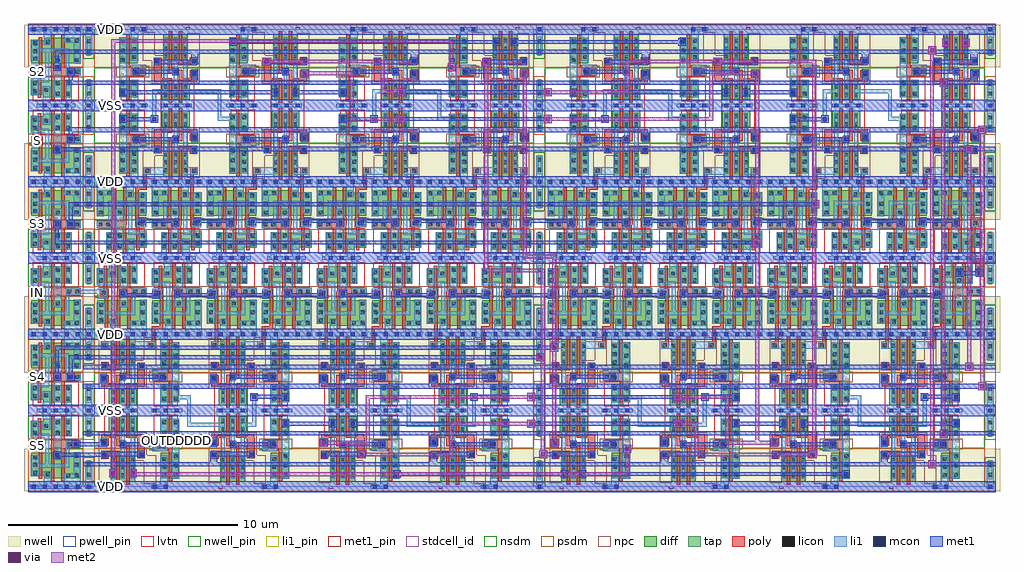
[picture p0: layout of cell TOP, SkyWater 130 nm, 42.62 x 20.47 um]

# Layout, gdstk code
from math import pi, radians
import gdstk
lib = gdstk.Library(unit=1e-6, precision=1e-09)
def R(c, l, rs):  # rectangles x0, y0, x1, y1
    for r in rs: c.add(gdstk.rectangle(r[:2], r[2:], *l))
def A(c, l, x, y, w, h, nx, ny, dx, dy):  # array of equal rectangles
    R(c, l, [(x+i*dx, y+j*dy, x+i*dx+w, y+j*dy+h) for i in range(nx) for j in range(ny)])
def P(c, l, *ps):  # polygons
    for p in ps: c.add(gdstk.Polygon(p, *l))
nwell_pin = (64, 16)
nwell = (64, 20)
diff = (65, 20)
tap = (65, 44)
poly = (66, 20)
licon = (66, 44)
li1_pin = (67, 16)
li1 = (67, 20)
mcon = (67, 44)
met1_pin = (68, 16)
met1 = (68, 20)
via = (68, 44)
met2 = (69, 20)
stdcell_id = (81, 4)
nsdm = (93, 44)
psdm = (94, 20)
npc = (95, 20)
pwell_pin = (122, 16)
lvtn = (125, 44)

scs8hs_tapvpwrvgnd_1 = lib.new_cell('scs8hs_tapvpwrvgnd_1')
R(scs8hs_tapvpwrvgnd_1, nwell, [(-0.19,1.66,0.67,3.52)])
R(scs8hs_tapvpwrvgnd_1, tap, [(0.155,0.32,0.325,1.145), (0.155,2.17,0.325,3.01)])
R(scs8hs_tapvpwrvgnd_1, licon, [(0.155,0.44,0.325,0.61), (0.155,0.855,0.325,1.025), (0.155,2.29,0.325,2.46), (0.155,2.72,0.325,2.89)])
R(scs8hs_tapvpwrvgnd_1, li1, [(0.09,-0.085,0.39,1.105), (0.09,2.205,0.39,3.415)])
R(scs8hs_tapvpwrvgnd_1, mcon, [(0.155,-0.085,0.325,0.085), (0.155,3.245,0.325,3.415)])
R(scs8hs_tapvpwrvgnd_1, met1_pin, [(0,0,0.48,0.245), (0,3.085,0.48,3.33)])
R(scs8hs_tapvpwrvgnd_1, met1, [(0,-0.245,0.48,0.245), (0,3.085,0.48,3.575)])
R(scs8hs_tapvpwrvgnd_1, stdcell_id, [(0,0,0.48,3.33)])
R(scs8hs_tapvpwrvgnd_1, nsdm, [(0,-0.19,0.48,0.19), (0,2.04,0.48,3.14)])
R(scs8hs_tapvpwrvgnd_1, psdm, [(0,0.19,0.48,1.275), (0,3.14,0.48,3.52)])
scs8hs_tapvpwrvgnd_1.add(gdstk.Label('vpwr', (0.24,3.208), layer=68, texttype=5))
scs8hs_tapvpwrvgnd_1.add(gdstk.Label('vgnd', (0.24,0.123), layer=68, texttype=5))
scs8hs_tapvpwrvgnd_1.add(gdstk.Label('scs8hs_tapvpwrvgnd_1', (0,0), layer=83, texttype=44))

scs8hs_buf_2 = lib.new_cell('scs8hs_buf_2')
R(scs8hs_buf_2, nwell_pin, [(0,3.085,2.4,3.33)])
R(scs8hs_buf_2, nwell, [(-0.19,1.66,2.59,3.52)])
P(scs8hs_buf_2, diff, [(0.135,1.84),(0.135,2.96),(1.705,2.96),(1.705,2.84),(2.265,2.84),(2.265,1.84)],
  [(0.535,0.37),(0.535,1.11),(2.265,1.11),(2.265,0.47),(1.755,0.47),(1.755,0.37)])
P(scs8hs_buf_2, poly, [(0.82,0.24),(0.82,1.3),(0.105,1.3),(0.105,1.63),(0.795,1.63),(0.795,1.765),(0.81,1.765),(0.81,3.09),(0.96,3.09),(0.96,1.765),(0.975,1.765),(0.975,1.63),(1.245,1.63),(1.245,1.765),(1.26,1.765),(1.26,3.09),(1.41,3.09),(1.41,1.765),(1.425,1.765),(1.425,1.45),(1.4,1.45),(1.4,0.24),(1.25,0.24),(1.25,1.3),(0.97,1.3),(0.97,0.24)],
  [(1.83,0.34),(1.83,1.35),(1.78,1.35),(1.78,1.765),(1.795,1.765),(1.795,2.97),(1.945,2.97),(1.945,1.765),(1.96,1.765),(1.96,1.68),(2.155,1.68),(2.155,1.35),(1.98,1.35),(1.98,0.34)])
A(scs8hs_buf_2, licon, 2.02, 1.95, 0.17, 0.17, 1, 3, 0, 0.34)
R(scs8hs_buf_2, licon, [(0.595,0.43,0.765,0.6), (1.025,0.43,1.195,0.6), (2.035,0.53,2.205,0.7), (1.525,0.59,1.695,0.76), (0.595,0.88,0.765,1.05), (1.025,0.88,1.195,1.05), (2.035,0.88,2.205,1.05), (0.185,1.38,0.355,1.55), (0.525,1.38,0.695,1.55), (1.905,1.43,2.075,1.6), (0.195,1.9,0.365,2.07), (1.025,1.9,1.195,2.07), (0.195,2.285,0.365,2.455), (1.475,2.695,1.645,2.865), (0.195,2.735,0.365,2.905), (0.575,2.735,0.745,2.905)])
A(scs8hs_buf_2, li1_pin, 1.115, 1.21, 0.17, 0.17, 1, 3, 0, 0.37)
R(scs8hs_buf_2, li1_pin, [(2.075,1.58,2.245,1.75)])
R(scs8hs_buf_2, li1, [(1.825,1.35,2.275,1.78)])
P(scs8hs_buf_2, li1, [(0.36,-0.085),(0.36,0.085),(0.515,0.085),(0.515,1.13),(0.765,1.13),(0.765,0.085),(1.445,0.085),(1.445,0.84),(1.775,0.84),(1.775,0.085),(2.04,0.085),(2.04,-0.085)],
  [(0.115,1.82),(0.115,3.245),(0.09,3.245),(0.09,3.415),(2.32,3.415),(2.32,3.245),(1.725,3.245),(1.725,2.66),(1.395,2.66),(1.395,3.245),(0.825,3.245),(0.825,2.735),(0.42,2.735),(0.42,1.82)],
  [(1.955,0.45),(1.955,1.01),(1.485,1.01),(1.485,2.32),(0.775,2.32),(0.775,1.3),(0.105,1.3),(0.105,1.63),(0.605,1.63),(0.605,2.49),(1.93,2.49),(1.93,2.88),(2.285,2.88),(2.285,1.95),(1.93,1.95),(1.93,2.32),(1.655,2.32),(1.655,1.18),(2.285,1.18),(2.285,0.45)],
  [(0.945,0.35),(0.945,2.15),(1.315,2.15),(1.315,1.18),(1.275,1.18),(1.275,0.35)])
A(scs8hs_buf_2, mcon, 0.635, -0.085, 0.17, 0.17, 3, 1, 0.48, 0)
A(scs8hs_buf_2, mcon, 0.155, 3.245, 0.17, 0.17, 5, 1, 0.48, 0)
R(scs8hs_buf_2, met1_pin, [(0,0,2.4,0.245), (0,3.085,2.4,3.33)])
R(scs8hs_buf_2, met1, [(0,-0.245,2.4,0.245), (0,3.085,2.4,3.575)])
R(scs8hs_buf_2, stdcell_id, [(0,0,2.4,3.33)])
R(scs8hs_buf_2, nsdm, [(0,-0.19,2.4,1.66)])
P(scs8hs_buf_2, psdm, [(0,1.66),(0,3.52),(2.4,3.52),(2.4,1.71),(1.795,1.71),(1.795,1.66)])
R(scs8hs_buf_2, npc, [(0,1.23,2.4,1.7)])
R(scs8hs_buf_2, pwell_pin, [(0,0,2.4,0.245)])
R(scs8hs_buf_2, lvtn, [(0.19,0.19,2.21,1.3)])
scs8hs_buf_2.add(gdstk.Label('vpwr', (1.2,3.208), layer=68, texttype=5))
scs8hs_buf_2.add(gdstk.Label('vgnd', (1.2,0.123), layer=68, texttype=5))
scs8hs_buf_2.add(gdstk.Label('A', (2.16,1.665), layer=67, texttype=5))
scs8hs_buf_2.add(gdstk.Label('X', (1.2,1.295), layer=67, texttype=5))
scs8hs_buf_2.add(gdstk.Label('X', (1.2,1.665), layer=67, texttype=5))
scs8hs_buf_2.add(gdstk.Label('X', (1.2,2.035), layer=67, texttype=5))
scs8hs_buf_2.add(gdstk.Label('scs8hs_buf_2', (0,0), layer=83, texttype=44))
scs8hs_buf_2.add(gdstk.Label('vnb', (1.2,0.123), layer=64, texttype=59))
scs8hs_buf_2.add(gdstk.Label('vpb', (1.2,3.208), layer=64, texttype=5))

dfl1sd_7d6da7699b = lib.new_cell('DFL1sd@7d6da7699b')
A(dfl1sd_7d6da7699b, licon, 0.055, 0.06, 0.17, 0.17, 1, 3, 0, 0.34)
R(dfl1sd_7d6da7699b, li1, [(0.055,-0.02,0.225,0.99)])

pfet_small = lib.new_cell('pfet_small')
R(pfet_small, diff, [(-0.25,0,0.83,1.12)])
R(pfet_small, poly, [(0,-0.13,0.15,1.25), (0,-0.13,0.15,0), (0.43,-0.13,0.58,1.25), (0.43,-0.13,0.58,0), (0,1.12,0.15,1.25), (0.43,1.12,0.58,1.25)])
A(pfet_small, licon, 0.205, 0.06, 0.17, 0.17, 1, 3, 0, 0.34)
A(pfet_small, licon, 0.635, 0.06, 0.17, 0.17, 1, 3, 0, 0.34)
R(pfet_small, li1, [(-0.225,-0.02,-0.055,0.31), (0.205,-0.02,0.375,0.31), (0.205,-0.02,0.375,0.31), (0.205,-0.02,0.375,0.99), (0.635,-0.02,0.805,0.31), (0.635,-0.02,0.805,0.99)])
R(pfet_small, psdm, [(0,-0.125,0.15,1.245), (0.43,-0.125,0.58,1.245)])
pfet_small.add(gdstk.Reference(dfl1sd_7d6da7699b, (0.15,0)))
pfet_small.add(gdstk.Reference(dfl1sd_7d6da7699b, (0,0), rotation=pi, x_reflection=True))
pfet_small.add(gdstk.Label('S', (0.29,0.145), layer=83, texttype=44))
pfet_small.add(gdstk.Label('D', (0.72,0.145), layer=83, texttype=44))
pfet_small.add(gdstk.Label('S', (-0.14,0.145), layer=83, texttype=44))
pfet_small.add(gdstk.Label('D', (0.29,0.145), layer=83, texttype=44))

dfl1sd_bd768060f0 = lib.new_cell('DFL1sd@bd768060f0')
R(dfl1sd_bd768060f0, licon, [(0.055,0.06,0.225,0.23), (0.055,0.4,0.225,0.57)])
R(dfl1sd_bd768060f0, li1, [(0.055,-0.02,0.225,0.65)])

nfet_small = lib.new_cell('nfet_small')
R(nfet_small, diff, [(-0.32,0,0.9,0.72)])
R(nfet_small, poly, [(0,-0.13,0.15,0), (0,-0.13,0.15,0.85), (0.43,-0.13,0.58,0.85), (0.43,-0.09,0.58,0), (0,0.74,0.15,0.85), (0.43,0.74,0.58,0.85)])
R(nfet_small, licon, [(0.205,0.06,0.375,0.23), (0.635,0.06,0.805,0.23), (0.205,0.4,0.375,0.57), (0.635,0.4,0.805,0.57)])
R(nfet_small, li1, [(-0.225,-0.02,-0.055,0.31), (0.205,-0.02,0.375,0.31), (0.205,-0.02,0.375,0.31), (0.205,-0.02,0.375,0.65), (0.635,-0.02,0.805,0.31), (0.635,-0.02,0.805,0.65)])
R(nfet_small, nsdm, [(-0.798,-0.567,1,1.283), (0,-0.125,0.15,0.845), (0.43,-0.075,0.58,0.845)])
R(nfet_small, lvtn, [(-0.52,-0.16,0.94,0.95)])
nfet_small.add(gdstk.Reference(dfl1sd_bd768060f0, (0.15,0)))
nfet_small.add(gdstk.Reference(dfl1sd_bd768060f0, (0,0), rotation=pi, x_reflection=True))
nfet_small.add(gdstk.Label('S', (0.29,0.145), layer=83, texttype=44))
nfet_small.add(gdstk.Label('D', (0.72,0.145), layer=83, texttype=44))
nfet_small.add(gdstk.Label('S', (-0.14,0.145), layer=83, texttype=44))
nfet_small.add(gdstk.Label('D', (0.29,0.145), layer=83, texttype=44))

scs8hs_fill_4_none = lib.new_cell('scs8hs_fill_4_none')
R(scs8hs_fill_4_none, nwell_pin, [(0,3.085,1.92,3.33)])
R(scs8hs_fill_4_none, nwell, [(-0.19,1.66,2.11,3.52)])
R(scs8hs_fill_4_none, li1, [(0.55,-0.085,1.85,0.085)])
A(scs8hs_fill_4_none, mcon, 0.635, -0.085, 0.17, 0.17, 3, 1, 0.48, 0)
R(scs8hs_fill_4_none, met1_pin, [(0,0,1.92,0.245), (0,3.085,1.92,3.33)])
R(scs8hs_fill_4_none, met1, [(0,-0.245,1.92,0.245), (0,3.085,1.92,3.575)])
R(scs8hs_fill_4_none, stdcell_id, [(0,0,1.92,3.33)])
R(scs8hs_fill_4_none, nsdm, [(0,-0.19,1.92,1.655)])
R(scs8hs_fill_4_none, psdm, [(0,1.655,1.92,3.52)])
R(scs8hs_fill_4_none, pwell_pin, [(0,0,1.92,0.245)])
scs8hs_fill_4_none.add(gdstk.Label('vpwr', (0.96,3.208), layer=68, texttype=5))
scs8hs_fill_4_none.add(gdstk.Label('vgnd', (0.96,0.123), layer=68, texttype=5))
scs8hs_fill_4_none.add(gdstk.Label('scs8hs_fill_4', (0,0), layer=83, texttype=44))
scs8hs_fill_4_none.add(gdstk.Label('vnb', (0.96,0.123), layer=64, texttype=59))
scs8hs_fill_4_none.add(gdstk.Label('vpb', (0.96,3.208), layer=64, texttype=5))

scs8hs_inv_1_mod = lib.new_cell('scs8hs_inv_1_mod')
R(scs8hs_inv_1_mod, nwell_pin, [(0,3.085,1.44,3.33)])
R(scs8hs_inv_1_mod, nwell, [(-0.19,1.66,1.63,3.52)])
R(scs8hs_inv_1_mod, diff, [(0.505,0.37,1.295,1.11), (0.505,1.84,1.295,2.96)])
P(scs8hs_inv_1_mod, poly, [(0.86,0.24),(0.86,1.3),(0.145,1.3),(0.145,1.63),(0.835,1.63),(0.835,1.765),(0.85,1.765),(0.85,3.09),(1,3.09),(1,1.765),(1.015,1.765),(1.015,1.3),(1.01,1.3),(1.01,0.24)])
A(scs8hs_inv_1_mod, licon, 1.065, 1.9, 0.17, 0.17, 1, 3, 0, 0.415)
A(scs8hs_inv_1_mod, licon, 0.565, 2.03, 0.17, 0.17, 1, 3, 0, 0.35)
R(scs8hs_inv_1_mod, licon, [(0.565,0.43,0.735,0.6), (1.065,0.43,1.235,0.6), (0.565,0.88,0.735,1.05), (1.065,0.88,1.235,1.05), (0.225,1.38,0.395,1.55), (0.565,1.38,0.735,1.55)])
A(scs8hs_inv_1_mod, li1_pin, 1.115, 0.47, 0.17, 0.17, 1, 7, 0, 0.37)
R(scs8hs_inv_1_mod, li1_pin, [(0.155,1.58,0.325,1.75)])
R(scs8hs_inv_1_mod, li1, [(0.985,0.35,1.315,2.98), (0.125,1.3,0.815,1.78)])
P(scs8hs_inv_1_mod, li1, [(0.08,-0.085),(0.08,0.085),(0.485,0.085),(0.485,1.13),(0.815,1.13),(0.815,0.085),(1.44,0.085),(1.44,-0.085)],
  [(0.485,1.95),(0.485,3.245),(0.08,3.245),(0.08,3.415),(0.815,3.415),(0.815,1.95)])
A(scs8hs_inv_1_mod, mcon, 0.155, -0.085, 0.17, 0.17, 3, 1, 0.48, 0)
R(scs8hs_inv_1_mod, mcon, [(0.155,3.245,0.325,3.415), (0.635,3.245,0.805,3.415)])
R(scs8hs_inv_1_mod, met1_pin, [(0,0,1.44,0.245), (0,3.085,1.44,3.33)])
R(scs8hs_inv_1_mod, met1, [(0,-0.245,1.44,0.245), (0,3.085,1.44,3.575)])
R(scs8hs_inv_1_mod, stdcell_id, [(0,0,1.44,3.33)])
R(scs8hs_inv_1_mod, nsdm, [(0,-0.19,1.44,1.66)])
R(scs8hs_inv_1_mod, psdm, [(0,1.66,1.44,3.52)])
P(scs8hs_inv_1_mod, npc, [(0,1.23),(0,1.73),(0.365,1.73),(0.365,1.7),(1.44,1.7),(1.44,1.23)])
R(scs8hs_inv_1_mod, pwell_pin, [(0,0,1.44,0.245)])
R(scs8hs_inv_1_mod, lvtn, [(0.19,0.19,1.25,1.3)])
scs8hs_inv_1_mod.add(gdstk.Label('vpwr', (0.72,3.208), layer=68, texttype=5))
scs8hs_inv_1_mod.add(gdstk.Label('vgnd', (0.72,0.123), layer=68, texttype=5))
scs8hs_inv_1_mod.add(gdstk.Label('Y', (1.2,0.555), layer=67, texttype=5))
scs8hs_inv_1_mod.add(gdstk.Label('Y', (1.2,0.925), layer=67, texttype=5))
scs8hs_inv_1_mod.add(gdstk.Label('Y', (1.2,1.295), layer=67, texttype=5))
scs8hs_inv_1_mod.add(gdstk.Label('Y', (1.2,1.665), layer=67, texttype=5))
scs8hs_inv_1_mod.add(gdstk.Label('Y', (1.2,2.035), layer=67, texttype=5))
scs8hs_inv_1_mod.add(gdstk.Label('Y', (1.2,2.405), layer=67, texttype=5))
scs8hs_inv_1_mod.add(gdstk.Label('Y', (1.2,2.775), layer=67, texttype=5))
scs8hs_inv_1_mod.add(gdstk.Label('A', (0.24,1.665), layer=67, texttype=5))
scs8hs_inv_1_mod.add(gdstk.Label('scs8hs_inv_1', (0,0), layer=83, texttype=44))
scs8hs_inv_1_mod.add(gdstk.Label('vnb', (0.72,0.123), layer=64, texttype=59))
scs8hs_inv_1_mod.add(gdstk.Label('vpb', (0.72,3.208), layer=64, texttype=5))

scs8hs_fill_1 = lib.new_cell('scs8hs_fill_1')
R(scs8hs_fill_1, nwell_pin, [(0,3.085,0.48,3.33)])
R(scs8hs_fill_1, nwell, [(-0.19,1.66,0.67,3.52)])
R(scs8hs_fill_1, met1_pin, [(0,0,0.48,0.245), (0,3.085,0.48,3.33)])
R(scs8hs_fill_1, met1, [(0,-0.245,0.48,0.245), (0,3.085,0.48,3.575)])
R(scs8hs_fill_1, stdcell_id, [(0,0,0.48,3.33)])
R(scs8hs_fill_1, nsdm, [(0,-0.19,0.48,1.655)])
R(scs8hs_fill_1, psdm, [(0,1.655,0.48,3.52)])
R(scs8hs_fill_1, pwell_pin, [(0,0,0.48,0.245)])
scs8hs_fill_1.add(gdstk.Label('vpwr', (0.24,3.208), layer=68, texttype=5))
scs8hs_fill_1.add(gdstk.Label('vgnd', (0.24,0.123), layer=68, texttype=5))
scs8hs_fill_1.add(gdstk.Label('scs8hs_fill_1', (0,0), layer=83, texttype=44))
scs8hs_fill_1.add(gdstk.Label('vnb', (0.24,0.123), layer=64, texttype=59))
scs8hs_fill_1.add(gdstk.Label('vpb', (0.24,3.208), layer=64, texttype=5))

emux = lib.new_cell('emux')
R(emux, poly, [(-0.175,1.045,0.63,1.195), (0.91,1.045,1.715,1.195), (0.48,1.105,0.63,1.405), (-0.185,1.195,0.145,1.545), (1.385,1.195,1.725,2.095), (0.48,1.405,1.06,1.555), (0.91,1.425,1.06,1.905), (-0.185,1.765,0.145,2.115), (-0.135,1.765,0.63,1.915)])
R(emux, licon, [(-0.13,1.275,0.04,1.445), (-0.13,1.845,0.04,2.015), (1.505,1.845,1.675,2.015)])
R(emux, li1_pin, [(3.035,1.21,3.205,1.38)])
A(emux, li1, 0.255, 0.37, 0.17, 2.6, 3, 1, 0.43, 0)
R(emux, li1, [(-0.205,1.195,0.065,1.565), (3.035,1.21,3.205,1.38), (0.625,1.33,0.915,1.62), (-0.175,1.765,0.075,2.095), (1.465,1.765,1.715,2.095)])
R(emux, mcon, [(-0.145,1.325,0.025,1.495), (0.685,1.39,0.855,1.56), (2.385,1.39,2.555,1.56), (-0.13,1.845,0.04,2.015), (1.505,1.845,1.675,2.015)])
R(emux, met1_pin, [(0.155,-0.085,0.325,0.085), (-0.145,1.325,0.025,1.495), (-0.13,1.845,0.04,2.015), (0.155,3.245,0.325,3.415)])
R(emux, met1, [(0.155,-0.085,0.325,0.085), (-0.225,1.255,0.095,1.575), (-0.145,1.325,0.025,1.495), (0.625,1.33,0.915,1.62), (2.325,1.33,2.615,1.62), (0.685,1.39,2.385,1.56), (-0.175,1.765,0.075,2.095), (1.465,1.765,1.715,2.095), (0,1.8,1.7,2), (-0.13,1.845,0.04,2.015), (0.155,3.245,0.325,3.415)])
R(emux, npc, [(-0.275,0.945,0.255,3.165), (1.285,0.945,1.815,2.195), (1.685,1.945,2.215,3.195)])
emux.add(gdstk.Reference(pfet_small, (0.48,1.995)))
emux.add(gdstk.Reference(nfet_small, (0.48,0.96), x_reflection=True))
emux.add(gdstk.Reference(scs8hs_fill_4_none, (-0.48,0)))
emux.add(gdstk.Reference(scs8hs_inv_1_mod, (1.92,0)))
emux.add(gdstk.Reference(scs8hs_fill_1, (1.44,0)))
emux.add(gdstk.Reference(scs8hs_fill_1, (3.84,0)))
emux.add(gdstk.Reference(scs8hs_fill_1, (3.36,0)))
emux.add(gdstk.Label('VSS', (0.24,0), layer=68, texttype=5))
emux.add(gdstk.Label('VDD', (0.24,3.33), layer=68, texttype=5))
emux.add(gdstk.Label('S', (-0.045,1.93), layer=68, texttype=5))
emux.add(gdstk.Label('SB', (-0.06,1.41), layer=68, texttype=5))
emux.add(gdstk.Label('OUTD', (3.12,1.295), layer=67, texttype=5))

unit_delay = lib.new_cell('unit_delay')
R(unit_delay, poly, [(-0.205,2.69,-0.025,3.02), (-0.025,2.69,0.125,3.69), (1.845,2.69,2.025,3.02), (2.025,2.69,2.175,3.54), (2.025,3.54,2.525,3.69)])
R(unit_delay, licon, [(-0.135,2.77,0.035,2.94), (1.925,2.77,2.095,2.94)])
R(unit_delay, li1_pin, [(3.035,1.21,3.205,1.38), (3.035,4.54,3.205,4.71), (-0.325,4.91,-0.155,5.08)])
R(unit_delay, li1, [(3.035,1.21,3.205,1.38), (-0.205,2.69,0.395,3.02), (1.275,2.69,2.175,3.02), (3.035,4.54,3.205,4.71), (-0.325,4.91,-0.155,5.08)])
A(unit_delay, met1_pin, 0.155, -0.085, 0.17, 0.17, 1, 3, 0, 3.33)
R(unit_delay, met1_pin, [(-0.145,1.325,0.025,1.495), (-0.13,1.845,0.04,2.015)])
A(unit_delay, met1, 0.155, -0.085, 0.17, 0.17, 1, 3, 0, 3.33)
R(unit_delay, met1, [(-0.145,1.325,0.025,1.495), (-0.13,1.845,0.04,2.015)])
unit_delay.add(gdstk.Reference(scs8hs_buf_2, (1.92,6.66), rotation=pi))
unit_delay.add(gdstk.Reference(scs8hs_buf_2, (4.32,6.66), rotation=pi))
unit_delay.add(gdstk.Reference(emux, (0,0)))
unit_delay.add(gdstk.Label('VSS', (0.24,0), layer=68, texttype=5))
unit_delay.add(gdstk.Label('VDD', (0.24,3.33), layer=68, texttype=5))
unit_delay.add(gdstk.Label('S', (-0.045,1.93), layer=68, texttype=5))
unit_delay.add(gdstk.Label('SB', (-0.06,1.41), layer=68, texttype=5))
unit_delay.add(gdstk.Label('VSS', (0.24,6.66), layer=68, texttype=5))
unit_delay.add(gdstk.Label('OUTD', (3.12,1.295), layer=67, texttype=5))
unit_delay.add(gdstk.Label('IN', (-0.24,4.995), layer=67, texttype=5))
unit_delay.add(gdstk.Label('OUT', (3.12,4.625), layer=67, texttype=5))

quad_delay = lib.new_cell('quad_delay')
A(quad_delay, li1_pin, 3.035, -1.38, 0.17, 0.17, 4, 1, 4.8, 0)
R(quad_delay, li1_pin, [(3.035,1.21,3.205,1.38), (3.035,4.54,3.205,4.71), (-0.325,4.91,-0.155,5.08)])
A(quad_delay, li1, 3.035, -1.38, 0.17, 0.17, 4, 1, 4.8, 0)
R(quad_delay, li1, [(3.57,-0.7,5.07,-0.53), (5.985,-0.7,6.585,-0.53), (13.17,-0.7,14.67,-0.53), (15.585,-0.7,16.185,-0.53), (3.57,-0.53,3.74,0.67), (6.415,-0.53,6.585,0.67), (13.17,-0.53,13.34,0.67), (16.015,-0.53,16.185,0.67), (6.335,0.43,6.665,0.76), (7.705,0.43,8.035,0.76), (15.935,0.43,16.265,0.76), (17.305,0.43,17.635,0.76), (3.16,0.5,3.65,0.67), (12.76,0.5,13.25,0.67), (3.035,1.21,3.205,1.38), (3.035,4.54,3.205,4.71), (-0.325,4.91,-0.155,5.08)])
A(quad_delay, mcon, 2.125, 4.98, 0.17, 0.17, 7, 1, 2.4, 0)
A(quad_delay, mcon, 0.685, 5.03, 0.17, 0.17, 7, 1, 2.4, 0)
R(quad_delay, mcon, [(7.785,-0.66,7.955,-0.49), (9.855,-0.66,10.025,-0.49), (10.715,-0.66,10.885,-0.49), (17.39,-0.66,17.56,-0.49), (6.415,0.51,6.585,0.68), (7.785,0.51,7.955,0.68), (16.015,0.51,16.185,0.68), (17.385,0.51,17.555,0.68)])
A(quad_delay, met1_pin, 0.155, -3.415, 0.17, 0.17, 1, 4, 0, 3.33)
A(quad_delay, met1_pin, -0.145, -2.015, 0.17, 0.17, 3, 2, 4.8, 0.58)
A(quad_delay, met1_pin, 0.685, 5.03, 0.17, 0.17, 7, 1, 2.4, 0)
R(quad_delay, met1_pin, [(11.12,-2,11.29,-1.83), (-0.145,1.325,0.025,1.495), (-0.13,1.845,0.04,2.015)])
A(quad_delay, met1, 0.155, -3.415, 0.17, 0.17, 1, 4, 0, 3.33)
A(quad_delay, met1, -0.145, -2.015, 0.17, 0.17, 3, 2, 4.8, 0.58)
A(quad_delay, met1, -0.225, 1.145, 0.32, 0.43, 4, 1, 4.8, 0)
A(quad_delay, met1, 2.045, 4.9, 0.33, 0.33, 7, 1, 2.4, 0)
A(quad_delay, met1, 0.605, 4.95, 0.33, 0.33, 7, 1, 2.4, 0)
A(quad_delay, met1, 0.685, 4.95, 1.57, 0.17, 7, 1, 2.4, 0)
A(quad_delay, met1, 0.685, 5.03, 0.17, 0.17, 7, 1, 2.4, 0)
R(quad_delay, met1, [(-0.96,-2.435,19.2,-2.265), (4.575,-2.4,4.895,-1.8), (14.175,-2.4,14.495,-1.8), (11.12,-2,11.29,-1.83), (4.575,-1.5,4.895,-1.07), (14.175,-1.5,14.495,-1.07), (-0.96,-1.08,19.2,-0.91), (7.705,-0.74,8.035,-0.41), (9.775,-0.74,10.105,-0.41), (10.635,-0.74,10.965,-0.41), (17.31,-0.74,17.64,-0.41), (7.865,-0.66,9.965,-0.49), (10.8,-0.66,17.55,-0.49), (6.335,0.43,6.665,0.76), (7.705,0.43,8.035,0.76), (15.935,0.43,16.265,0.76), (17.305,0.43,17.635,0.76), (6.415,0.51,7.955,0.68), (16.015,0.51,17.555,0.68), (-0.96,0.96,19.2,1.16), (-0.145,1.325,0.025,1.495), (-0.96,1.8,19.2,2), (-0.13,1.845,0.04,2.015)])
quad_delay.add(gdstk.Reference(scs8hs_tapvpwrvgnd_1, (-0.96,0)))
quad_delay.add(gdstk.Reference(scs8hs_tapvpwrvgnd_1, (-0.96,0), x_reflection=True))
quad_delay.add(gdstk.Reference(scs8hs_tapvpwrvgnd_1, (-0.96,6.66), x_reflection=True))
quad_delay.add(gdstk.Reference(unit_delay, (0,0)))
quad_delay.add(gdstk.Reference(emux, (0,0), x_reflection=True))
quad_delay.add(gdstk.Reference(unit_delay, (4.8,0)))
quad_delay.add(gdstk.Reference(emux, (4.8,0), x_reflection=True))
quad_delay.add(gdstk.Reference(unit_delay, (9.6,0)))
quad_delay.add(gdstk.Reference(emux, (9.6,0), x_reflection=True))
quad_delay.add(gdstk.Reference(unit_delay, (14.4,0)))
quad_delay.add(gdstk.Reference(emux, (14.4,0), x_reflection=True))
quad_delay.add(gdstk.Reference(scs8hs_tapvpwrvgnd_1, (18.72,0)))
quad_delay.add(gdstk.Reference(scs8hs_tapvpwrvgnd_1, (18.72,6.66), x_reflection=True))
quad_delay.add(gdstk.Reference(scs8hs_tapvpwrvgnd_1, (18.72,0), x_reflection=True))
quad_delay.add(gdstk.Label('VSS', (0.24,0), layer=68, texttype=5))
quad_delay.add(gdstk.Label('VDD', (0.24,3.33), layer=68, texttype=5))
quad_delay.add(gdstk.Label('S', (-0.045,1.93), layer=68, texttype=5))
quad_delay.add(gdstk.Label('SB', (-0.06,1.41), layer=68, texttype=5))
quad_delay.add(gdstk.Label('VSS', (0.24,6.66), layer=68, texttype=5))
quad_delay.add(gdstk.Label('OUT0', (0.77,5.115), layer=68, texttype=5))
quad_delay.add(gdstk.Label('OUT1', (3.17,5.115), layer=68, texttype=5))
quad_delay.add(gdstk.Label('OUT2', (5.57,5.115), layer=68, texttype=5))
quad_delay.add(gdstk.Label('OUT3', (7.97,5.115), layer=68, texttype=5))
quad_delay.add(gdstk.Label('OUT4', (10.37,5.115), layer=68, texttype=5))
quad_delay.add(gdstk.Label('OUT5', (12.77,5.115), layer=68, texttype=5))
quad_delay.add(gdstk.Label('OUT6', (15.17,5.115), layer=68, texttype=5))
quad_delay.add(gdstk.Label('S4B', (-0.06,-1.35), layer=68, texttype=5))
quad_delay.add(gdstk.Label('S4', (-0.06,-1.93), layer=68, texttype=5))
quad_delay.add(gdstk.Label('S2B', (4.74,-1.35), layer=68, texttype=5))
quad_delay.add(gdstk.Label('S2', (4.74,-1.93), layer=68, texttype=5))
quad_delay.add(gdstk.Label('S3B', (9.54,-1.35), layer=68, texttype=5))
quad_delay.add(gdstk.Label('S3', (9.54,-1.93), layer=68, texttype=5))
quad_delay.add(gdstk.Label('VDD', (0.24,-3.33), layer=68, texttype=5))
quad_delay.add(gdstk.Label('TP1', (11.205,-1.915), layer=68, texttype=5))
quad_delay.add(gdstk.Label('OUTD', (3.12,1.295), layer=67, texttype=5))
quad_delay.add(gdstk.Label('IN', (-0.24,4.995), layer=67, texttype=5))
quad_delay.add(gdstk.Label('OUT', (3.12,4.625), layer=67, texttype=5))
quad_delay.add(gdstk.Label('OUTDDDDD', (3.12,-1.295), layer=67, texttype=5))
quad_delay.add(gdstk.Label('OUTDDDD', (17.52,-1.295), layer=67, texttype=5))
quad_delay.add(gdstk.Label('OUTDD', (7.92,-1.295), layer=67, texttype=5))
quad_delay.add(gdstk.Label('OUTDDD', (12.72,-1.295), layer=67, texttype=5))

eight_delay = lib.new_cell('eight_delay')
A(eight_delay, li1_pin, 3.035, -1.38, 0.17, 0.17, 3, 1, 4.8, 0)
R(eight_delay, li1_pin, [(22.715,-1.38,22.885,-1.21), (3.035,1.21,3.205,1.38), (3.035,4.54,3.205,4.71), (-0.325,4.91,-0.155,5.08)])
A(eight_delay, li1, 3.035, -1.38, 0.17, 0.17, 3, 1, 4.8, 0)
R(eight_delay, li1, [(22.715,-1.38,22.885,-1.21), (3.035,1.21,3.205,1.38), (3.035,4.54,3.205,4.71), (-0.325,4.91,-0.155,5.08)])
R(eight_delay, mcon, [(12.645,-2.855,12.815,-2.685), (19.975,-2.855,20.145,-2.685), (20.755,-2.855,20.925,-2.685), (32.255,-2.855,32.425,-2.685), (0.255,-2.825,0.425,-2.655), (1.12,-2.825,1.29,-2.655), (22.715,-1.75,22.885,-1.58), (19.405,4.98,19.575,5.15), (19.405,4.98,19.575,5.15), (17.485,5.03,17.655,5.2), (17.485,5.03,17.655,5.2)])
A(eight_delay, met1_pin, 0.155, -3.415, 0.17, 0.17, 1, 4, 0, 3.33)
A(eight_delay, met1_pin, -0.145, -2.015, 0.17, 0.17, 3, 2, 4.8, 0.58)
R(eight_delay, met1_pin, [(19.535,-2.015,19.705,-1.845), (11.12,-2,11.29,-1.83), (19.535,-1.435,19.705,-1.265), (-0.145,1.325,0.025,1.495), (-0.13,1.845,0.04,2.015), (17.485,5.03,17.655,5.2)])
A(eight_delay, met1, 0.155, -3.415, 0.17, 0.17, 1, 4, 0, 3.33)
A(eight_delay, met1, -0.145, -2.015, 0.17, 0.17, 3, 2, 4.8, 0.58)
R(eight_delay, met1, [(12.565,-2.935,12.895,-2.605), (19.895,-2.935,20.225,-2.605), (20.675,-2.935,21.005,-2.605), (32.175,-2.935,32.505,-2.605), (0.165,-2.905,0.515,-2.575), (1.03,-2.905,1.38,-2.575), (12.635,-2.855,19.965,-2.685), (20.745,-2.855,32.245,-2.685), (11.015,-2.095,11.365,-1.745), (30.715,-2.095,31.065,-1.745), (19.535,-2.015,19.705,-1.845), (11.12,-2,11.29,-1.83), (22.625,-1.84,22.975,-1.49), (19.445,-1.615,19.795,-1.265), (9.355,-1.585,9.705,-1.235), (29.045,-1.585,29.395,-1.235), (19.535,-1.435,19.705,-1.265), (18.43,-0.75,18.78,-0.4), (24.81,-0.75,25.16,-0.4), (18.5,-0.66,24.935,-0.49), (18.43,0.415,18.78,0.765), (24.825,0.415,25.175,0.765), (18.5,0.505,24.935,0.675), (-0.145,1.325,0.025,1.495), (-0.13,1.845,0.04,2.015), (19.325,4.9,19.655,5.23), (19.325,4.9,19.655,5.23), (17.405,4.95,17.735,5.28), (17.405,4.95,17.735,5.28), (17.485,4.95,19.535,5.12), (17.485,4.95,19.535,5.12), (17.485,5.03,17.655,5.2)])
R(eight_delay, via, [(0.255,-2.825,0.425,-2.655), (1.12,-2.825,1.29,-2.655), (11.105,-2.005,11.275,-1.835), (30.805,-2.005,30.975,-1.835), (22.715,-1.75,22.885,-1.58), (19.535,-1.525,19.705,-1.355), (9.445,-1.495,9.615,-1.325), (29.135,-1.495,29.305,-1.325), (18.52,-0.66,18.69,-0.49), (24.9,-0.66,25.07,-0.49), (18.52,0.505,18.69,0.675), (24.915,0.505,25.085,0.675)])
R(eight_delay, met2, [(0.165,-2.905,0.515,-2.575), (1.03,-2.905,1.38,-2.575), (22.715,-2.75,22.885,-1.75), (11.015,-2.095,11.365,-1.745), (30.715,-2.095,31.065,-1.745), (11.095,-2.005,15.095,-1.835), (15.02,-2.005,15.19,-0.66), (25.72,-2.005,25.89,-0.66), (25.795,-2.005,30.795,-1.835), (22.625,-1.84,22.975,-1.49), (19.445,-1.615,19.795,-1.265), (9.355,-1.585,9.705,-1.235), (29.045,-1.585,29.395,-1.235), (19.525,-1.525,19.695,6.675), (9.435,-1.495,11.435,-1.325), (11.38,-1.495,11.55,0.505), (27.07,-1.495,27.24,0.505), (27.125,-1.495,29.125,-1.325), (18.43,-0.75,18.78,-0.4), (24.81,-0.75,25.16,-0.4), (15.01,-0.66,18.51,-0.49), (24.89,-0.66,25.89,-0.49), (18.43,0.415,18.78,0.765), (24.825,0.415,25.175,0.765), (11.38,0.505,18.51,0.675), (24.905,0.505,27.24,0.675)])
eight_delay.add(gdstk.Reference(quad_delay, (0,0)))
eight_delay.add(gdstk.Reference(quad_delay, (19.68,0)))
eight_delay.add(gdstk.Label('VSS', (0.24,0), layer=68, texttype=5))
eight_delay.add(gdstk.Label('VDD', (0.24,3.33), layer=68, texttype=5))
eight_delay.add(gdstk.Label('S', (-0.045,1.93), layer=68, texttype=5))
eight_delay.add(gdstk.Label('SB', (-0.06,1.41), layer=68, texttype=5))
eight_delay.add(gdstk.Label('VSS', (0.24,6.66), layer=68, texttype=5))
eight_delay.add(gdstk.Label('OUT7', (17.57,5.115), layer=68, texttype=5))
eight_delay.add(gdstk.Label('S2B', (4.74,-1.35), layer=68, texttype=5))
eight_delay.add(gdstk.Label('S2', (4.74,-1.93), layer=68, texttype=5))
eight_delay.add(gdstk.Label('S3B', (9.54,-1.35), layer=68, texttype=5))
eight_delay.add(gdstk.Label('S3', (9.54,-1.93), layer=68, texttype=5))
eight_delay.add(gdstk.Label('S4B', (19.62,-1.35), layer=68, texttype=5))
eight_delay.add(gdstk.Label('S4', (19.62,-1.93), layer=68, texttype=5))
eight_delay.add(gdstk.Label('S5B', (-0.06,-1.35), layer=68, texttype=5))
eight_delay.add(gdstk.Label('S5', (-0.06,-1.93), layer=68, texttype=5))
eight_delay.add(gdstk.Label('VDD', (0.24,-3.33), layer=68, texttype=5))
eight_delay.add(gdstk.Label('TP1', (11.205,-1.915), layer=68, texttype=5))
eight_delay.add(gdstk.Label('OUTD', (3.12,1.295), layer=67, texttype=5))
eight_delay.add(gdstk.Label('IN', (-0.24,4.995), layer=67, texttype=5))
eight_delay.add(gdstk.Label('OUT', (3.12,4.625), layer=67, texttype=5))
eight_delay.add(gdstk.Label('OUTDDDDD', (3.12,-1.295), layer=67, texttype=5))
eight_delay.add(gdstk.Label('OUTDD', (7.92,-1.295), layer=67, texttype=5))
eight_delay.add(gdstk.Label('OUTDDD', (12.72,-1.295), layer=67, texttype=5))
eight_delay.add(gdstk.Label('OUTDDDD', (22.8,-1.295), layer=67, texttype=5))

sixteen_delay = lib.new_cell('sixteen_delay')
R(sixteen_delay, poly, [(38,6,38.33,6.65), (37.83,6.5,37.98,7), (37.83,6.5,38.08,6.65)])
R(sixteen_delay, licon, [(38.08,6.08,38.25,6.25)])
A(sixteen_delay, li1_pin, 3.035, -1.38, 0.17, 0.17, 3, 1, 4.8, 0)
R(sixteen_delay, li1_pin, [(22.715,-1.38,22.885,-1.21), (3.035,1.21,3.205,1.38), (3.035,4.54,3.205,4.71), (-0.325,4.91,-0.155,5.08)])
A(sixteen_delay, li1, 3.035, -1.38, 0.17, 0.17, 3, 1, 4.8, 0)
R(sixteen_delay, li1, [(22.715,-1.38,22.885,-1.21), (3.035,1.21,3.205,1.38), (3.035,4.54,3.205,4.71), (-0.325,4.91,-0.155,5.08), (38.055,6,38.32,6.33)])
R(sixteen_delay, mcon, [(37.215,5.915,37.385,6.085), (38.095,5.915,38.265,6.085)])
A(sixteen_delay, met1_pin, 0.155, -3.415, 0.17, 0.17, 1, 7, 0, 3.33)
A(sixteen_delay, met1_pin, -0.145, -2.015, 0.17, 0.17, 3, 2, 4.8, 0.58)
R(sixteen_delay, met1_pin, [(19.535,-2.015,19.705,-1.845), (11.12,-2,11.29,-1.83), (19.535,-1.435,19.705,-1.265), (-0.145,1.325,0.025,1.495), (-0.13,1.845,0.04,2.015)])
A(sixteen_delay, met1, 0.155, -3.415, 0.17, 0.17, 1, 7, 0, 3.33)
A(sixteen_delay, met1, -0.145, -2.015, 0.17, 0.17, 3, 2, 4.8, 0.58)
R(sixteen_delay, met1, [(35.935,-2.525,36.285,-2.175), (18.945,-2.09,19.295,-1.74), (19.535,-2.015,19.705,-1.845), (11.12,-2,11.29,-1.83), (19.12,-2,19.62,-1.83), (19.535,-1.435,19.705,-1.265), (36.435,-1.185,36.785,-0.835), (38.125,0.885,38.475,1.235), (-0.145,1.325,0.025,1.495), (37.555,1.735,37.905,2.085), (-0.13,1.845,0.04,2.015), (37.135,5.835,37.465,6.165), (38.015,5.835,38.345,6.165), (37.205,5.915,38.085,6.085), (37.555,11.235,37.905,11.585), (38.125,12.085,38.475,12.435), (36.435,14.145,36.785,14.495), (37.775,14.3,38.095,14.9), (16.465,15.035,16.815,15.385), (37.775,15.2,38.095,15.63), (35.935,15.565,36.285,15.915), (36.6,15.98,36.77,16.48), (37.5,15.98,37.67,16.48)])
R(sixteen_delay, via, [(36.025,-2.435,36.195,-2.265), (19.035,-2,19.205,-1.83), (36.525,-1.095,36.695,-0.925), (38.215,0.975,38.385,1.145), (37.645,1.825,37.815,1.995), (37.645,11.325,37.815,11.495), (38.215,12.175,38.385,12.345), (36.525,14.235,36.695,14.405), (16.555,15.125,16.725,15.295), (36.025,15.655,36.195,15.825)])
R(sixteen_delay, met2, [(0.255,-2.86,0.425,16.05), (1.12,-2.86,22.885,-2.69), (35.935,-2.525,36.285,-2.175), (36.015,-2.435,36.185,15.655), (30.88,-2.095,31.05,15.225), (18.945,-2.09,19.295,-1.74), (19.025,-2,19.195,6.2), (28.38,-1.495,28.55,14.905), (36.435,-1.185,36.785,-0.835), (36.515,-1.095,36.685,14.235), (38.125,0.885,38.475,1.235), (38.205,0.975,38.375,12.175), (37.555,1.735,37.905,2.085), (37.635,1.825,37.805,11.325), (16.545,6.03,19.12,6.2), (16.545,6.2,16.715,15.125), (18.225,6.64,19.695,6.81), (37.555,11.235,37.905,11.585), (38.125,12.085,38.475,12.435), (36.435,14.145,36.785,14.495), (16.465,15.035,16.815,15.385), (26.05,15.155,31.05,15.325), (35.935,15.565,36.285,15.915), (0.255,16.05,15.205,16.22)])
R(sixteen_delay, npc, [(38,5.9,38.33,6.75)])
sixteen_delay.add(gdstk.Reference(eight_delay, (0,0)))
sixteen_delay.add(gdstk.Reference(eight_delay, (37.92,13.32), rotation=pi))
sixteen_delay.add(gdstk.Label('VSS', (0.24,0), layer=68, texttype=5))
sixteen_delay.add(gdstk.Label('VDD', (0.24,3.33), layer=68, texttype=5))
sixteen_delay.add(gdstk.Label('S', (-0.045,1.93), layer=68, texttype=5))
sixteen_delay.add(gdstk.Label('SB', (-0.06,1.41), layer=68, texttype=5))
sixteen_delay.add(gdstk.Label('VSS', (0.24,6.66), layer=68, texttype=5))
sixteen_delay.add(gdstk.Label('VDD', (0.24,9.99), layer=68, texttype=5))
sixteen_delay.add(gdstk.Label('VSS', (0.24,13.32), layer=68, texttype=5))
sixteen_delay.add(gdstk.Label('VDD', (0.24,16.65), layer=68, texttype=5))
sixteen_delay.add(gdstk.Label('S2B', (4.74,-1.35), layer=68, texttype=5))
sixteen_delay.add(gdstk.Label('S2', (4.74,-1.93), layer=68, texttype=5))
sixteen_delay.add(gdstk.Label('S3B', (9.54,-1.35), layer=68, texttype=5))
sixteen_delay.add(gdstk.Label('S3', (9.54,-1.93), layer=68, texttype=5))
sixteen_delay.add(gdstk.Label('S4B', (19.62,-1.35), layer=68, texttype=5))
sixteen_delay.add(gdstk.Label('S4', (19.62,-1.93), layer=68, texttype=5))
sixteen_delay.add(gdstk.Label('S5B', (-0.06,-1.35), layer=68, texttype=5))
sixteen_delay.add(gdstk.Label('S5', (-0.06,-1.93), layer=68, texttype=5))
sixteen_delay.add(gdstk.Label('VDD', (0.24,-3.33), layer=68, texttype=5))
sixteen_delay.add(gdstk.Label('TP1', (11.205,-1.915), layer=68, texttype=5))
sixteen_delay.add(gdstk.Label('OUTD', (3.12,1.295), layer=67, texttype=5))
sixteen_delay.add(gdstk.Label('IN', (-0.24,4.995), layer=67, texttype=5))
sixteen_delay.add(gdstk.Label('OUT', (3.12,4.625), layer=67, texttype=5))
sixteen_delay.add(gdstk.Label('OUTDDDDD', (3.12,-1.295), layer=67, texttype=5))
sixteen_delay.add(gdstk.Label('OUTDD', (7.92,-1.295), layer=67, texttype=5))
sixteen_delay.add(gdstk.Label('OUTDDD', (12.72,-1.295), layer=67, texttype=5))
sixteen_delay.add(gdstk.Label('OUTDDDD', (22.8,-1.295), layer=67, texttype=5))

top = lib.new_cell('TOP')
R(top, li1_pin, [(-3.03,-1.6,-2.86,-1.43), (3.035,-1.38,3.205,-1.21), (-3.03,1.42,-2.86,1.59), (-3.03,5.05,-2.86,5.22), (-3.03,8.08,-2.86,8.25), (-3.03,11.72,-2.86,11.89), (-3.03,14.74,-2.86,14.91)])
R(top, li1, [(-2.265,-2.1,-1.935,-1.77), (-1.465,-1.63,-1.135,-1.3), (-3.03,-1.6,-2.86,-1.43), (3.035,-1.38,3.205,-1.21), (-2.265,1.3,-1.935,1.63), (-1.665,1.3,-1.335,1.63), (-3.03,1.42,-2.86,1.59), (-3.03,5.05,-2.86,5.22), (-1.3,5.1,-0.1,5.27), (-2.265,7.965,-1.935,8.295), (-1.665,7.965,-1.335,8.295), (-3.03,8.08,-2.86,8.25), (-2.265,11.24,-1.935,11.57), (-1.665,11.69,-1.335,12.02), (-3.03,11.72,-2.86,11.89), (-1.665,14.62,-1.335,14.95), (-3.03,14.74,-2.86,14.91), (-2.265,14.835,-1.935,15.165)])
R(top, mcon, [(-2.185,-2.02,-2.015,-1.85), (-1.385,-1.55,-1.215,-1.38), (-2.185,1.38,-2.015,1.55), (-1.585,1.38,-1.415,1.55), (-2.185,8.045,-2.015,8.215), (-1.585,8.045,-1.415,8.215), (-2.185,11.32,-2.015,11.49), (-1.585,11.77,-1.415,11.94), (-1.585,14.7,-1.415,14.87), (-2.185,14.915,-2.015,15.085)])
A(top, met1_pin, 0.155, -3.415, 0.17, 0.17, 1, 7, 0, 3.33)
A(top, met1, 0.155, -3.415, 0.17, 0.17, 1, 7, 0, 3.33)
R(top, met1, [(-2.265,-2.1,-1.935,-1.77), (-2.195,-2.02,-0.095,-1.85), (-1.465,-1.63,-1.135,-1.3), (-1.395,-1.55,0.005,-1.38), (-2.265,1.3,-1.935,1.63), (-1.665,1.3,-1.335,1.63), (-2.195,1.38,-2.025,2.755), (-1.595,1.38,-1.425,2.415), (18.825,2.15,19.175,2.5), (-1.495,2.24,18.905,2.41), (19.425,2.56,19.775,2.91), (-2.195,2.65,19.505,2.82), (28.255,7.16,28.605,7.51), (-2.195,7.25,-2.025,8.045), (-2.165,7.25,28.335,7.42), (-2.265,7.965,-1.935,8.295), (-1.665,7.965,-1.335,8.295), (-1.595,8.045,-1.425,9.08), (30.825,8.825,31.175,9.175), (-1.595,8.915,30.905,9.085), (-2.265,11.24,-1.935,11.57), (-2.195,11.32,-0.895,11.49), (-1.665,11.69,-1.335,12.02), (-1.595,11.77,-1.425,12.17), (-1.595,12.16,-0.395,12.36), (-1.595,14.23,-1.425,14.7), (-1.55,14.23,-0.55,14.4), (-1.665,14.62,-1.335,14.95), (-2.265,14.835,-1.935,15.165), (-2.195,14.915,-2.025,15.755), (-2.1,15.585,-0.8,15.755)])
R(top, via, [(18.915,2.24,19.085,2.41), (19.515,2.65,19.685,2.82), (28.345,7.25,28.515,7.42), (30.915,8.915,31.085,9.085)])
R(top, met2, [(18.825,2.15,19.175,2.5), (19.425,2.56,19.775,2.91), (28.255,7.16,28.605,7.51), (30.825,8.825,31.175,9.175)])
top.add(gdstk.Reference(sixteen_delay, (0,0)))
top.add(gdstk.Reference(scs8hs_buf_2, (-0.96,13.32), rotation=pi, x_reflection=True))
top.add(gdstk.Reference(scs8hs_buf_2, (-0.96,13.32), rotation=pi))
top.add(gdstk.Reference(scs8hs_buf_2, (-0.96,0), rotation=pi, x_reflection=True))
top.add(gdstk.Reference(scs8hs_buf_2, (-0.96,0), rotation=pi))
top.add(gdstk.Reference(scs8hs_buf_2, (-0.96,6.66), rotation=pi, x_reflection=True))
top.add(gdstk.Reference(scs8hs_buf_2, (-0.96,6.66), rotation=pi))
top.add(gdstk.Label('VSS', (0.24,0), layer=68, texttype=5))
top.add(gdstk.Label('VDD', (0.24,3.33), layer=68, texttype=5))
top.add(gdstk.Label('VSS', (0.24,6.66), layer=68, texttype=5))
top.add(gdstk.Label('VDD', (0.24,9.99), layer=68, texttype=5))
top.add(gdstk.Label('VSS', (0.24,13.32), layer=68, texttype=5))
top.add(gdstk.Label('VDD', (0.24,16.65), layer=68, texttype=5))
top.add(gdstk.Label('VDD', (0.24,-3.33), layer=68, texttype=5))
top.add(gdstk.Label('OUTDDDDD', (3.12,-1.295), layer=67, texttype=5))
top.add(gdstk.Label('IN', (-2.945,5.135), layer=67, texttype=5))
top.add(gdstk.Label('S', (-2.945,11.805), layer=67, texttype=5))
top.add(gdstk.Label('S2', (-2.945,14.825), layer=67, texttype=5))
top.add(gdstk.Label('S3', (-2.945,8.165), layer=67, texttype=5))
top.add(gdstk.Label('S4', (-2.945,1.505), layer=67, texttype=5))
top.add(gdstk.Label('S5', (-2.945,-1.515), layer=67, texttype=5))

lib.write_gds('TOP.gds')
